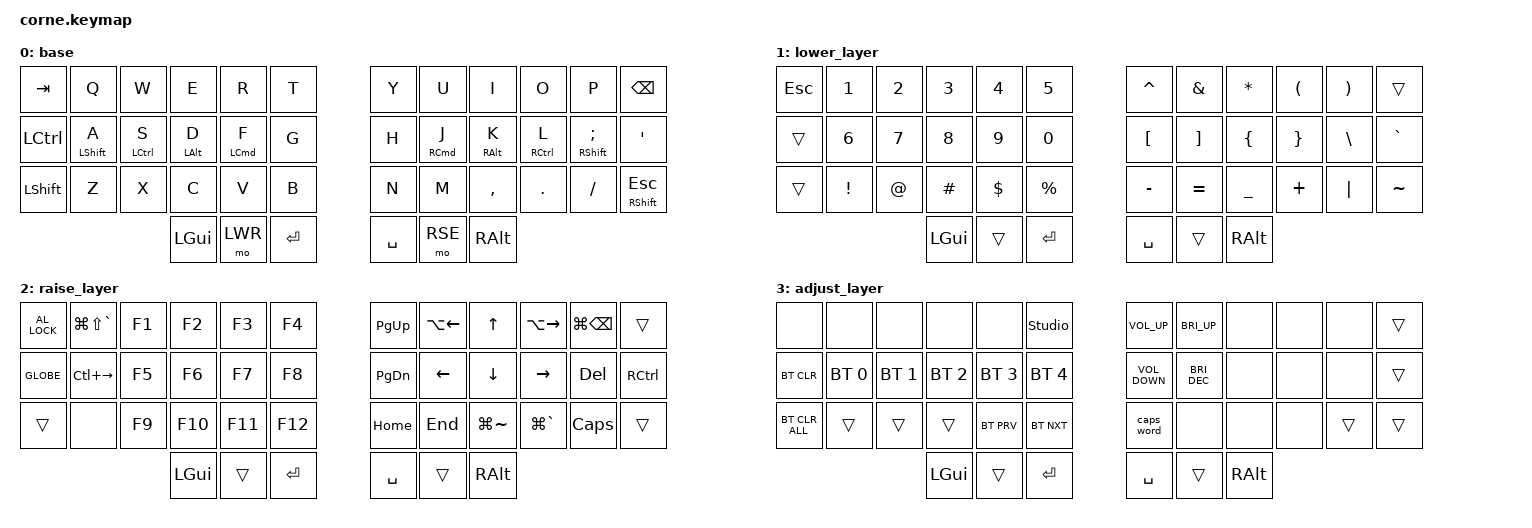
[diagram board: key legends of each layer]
/*
 * Copyright (c) 2020 The ZMK Contributors
 *
 * SPDX-License-Identifier: MIT
 */

#include <behaviors.dtsi>
#include <dt-bindings/zmk/keys.h>
#include "zmk-helpers/helper.h"
#include "zmk-helpers/key-labels/42.h"
#include <dt-bindings/zmk/bt.h>

#define BSE 0   //base
#define LWR 1   //lower
#define RSE 2   //raise
#define ADJ 3   //bt-adjust


#define KEYS_L LT0 LT1 LT2 LT3 LT4 LT5 LM0 LM1 LM2 LM3 LM4 LM5 LB0 LB1 LB2 LB3 LB4 LB5
#define KEYS_R RT0 RT1 RT2 RT3 RT4 RT5 RM0 RM1 RM2 RM3 RM4 RM5 RB0 RB1 RB2 RB3 RB4 RB5
#define THUMBS LH2 LH1 LH0 RH0 RH1 RH2

ZMK_HOLD_TAP(hml,
    flavor = "tap-preferred";
    tapping-term-ms = <280>;
    quick-tap-ms = <200>;
    require-prior-idle-ms = <230>;
    hold-trigger-key-positions = <KEYS_R THUMBS>;
    hold-trigger-on-release;
    bindings = <&kp>, <&kp>;
)

ZMK_HOLD_TAP(hmr,
    flavor = "tap-preferred";
    tapping-term-ms = <280>;
    quick-tap-ms = <200>;
    require-prior-idle-ms = <230>;
    hold-trigger-key-positions = <KEYS_L THUMBS>;
    hold-trigger-on-release;
    bindings = <&kp>, <&kp>;
)

ZMK_CONDITIONAL_LAYER(ADJ, LWR RSE, ADJ)

ZMK_COMBO(ij_project_files,         &kp LG(NUMBER_1),     RB0 RB1, BSE, 50, 230)
ZMK_COMBO(ij_selected_task_run,     &kp LS(LC(F10)),      LT0 LT1, BSE, 50, 230)
ZMK_COMBO(ij_last_run_task_run,     &kp LS(F10),          LM0 LM1, BSE, 50, 230)
ZMK_COMBO(ij_stop_running_task,     &kp LG(F2),           LT2 LT3, BSE, 50, 230)
ZMK_COMBO(ij_run_menu,              &kp LS(LA(F10)),      RT0 RT1, BSE, 50, 230)

ZMK_LAYER(base,
&kp TAB    &kp Q          &kp W         &kp E        &kp R        &kp T      &kp Y      &kp U        &kp I        &kp O         &kp P            &kp BSPC
&kp LCTRL  &hml LSHIFT A  &hml LCTRL S  &hml LALT D  &hml LCMD F  &kp G      &kp H      &hmr RCMD J  &hmr RALT K  &hmr RCTRL L  &hmr RSHFT SEMI  &kp SQT
&kp LSHFT  &kp Z          &kp X         &kp C        &kp V        &kp B      &kp N      &kp M        &kp COMMA    &kp DOT       &kp FSLH         &mt RIGHT_SHIFT ESCAPE
                                        &kp LGUI     &mo LWR        &kp RET    &kp SPACE  &mo RSE        &kp RALT
)

ZMK_LAYER(lower_layer,
&kp ESCAPE  &kp N1           &kp N2  &kp N3    &kp N4    &kp N5       &kp CARET  &kp AMPS   &kp ASTRK  &kp LPAR  &kp RPAR  &trans
&trans      &kp N6           &kp N7  &kp N8    &kp N9    &kp N0       &kp LBKT   &kp RBKT   &kp LBRC   &kp RBRC  &kp BSLH  &kp GRAVE
&trans      &kp EXCLAMATION  &kp AT  &kp HASH  &kp DLLR  &kp PRCNT    &kp MINUS  &kp EQUAL  &kp UNDER  &kp PLUS  &kp PIPE  &kp TILDE
                                     &kp LGUI  &trans    &kp RET      &kp SPACE  &trans     &kp RALT
)

ZMK_LAYER(raise_layer,
&kp C_AL_LOCK  &kp LG(LS(GRAVE))  &kp F1  &kp F2    &kp F3   &kp F4     &kp PAGE_UP    &kp LA(LEFT_ARROW)  &kp UP_ARROW    &kp LA(RIGHT_ARROW)  &kp LG(BACKSPACE)  &trans
&kp GLOBE      &kp LC(RIGHT)      &kp F5  &kp F6    &kp F7   &kp F8     &kp PAGE_DOWN  &kp LEFT_ARROW      &kp DOWN_ARROW  &kp RIGHT_ARROW      &kp DELETE         &kp RCTRL
&trans         &none              &kp F9  &kp F10   &kp F11  &kp F12    &kp HOME       &kp END             &kp LG(TILDE)   &kp LG(GRAVE)        &kp CAPSLOCK       &trans
                                          &kp LGUI  &trans   &kp RET    &kp SPACE      &trans              &kp RALT
)

ZMK_LAYER(adjust_layer,
&none           &none         &none         &none         &none         &studio_unlock    &kp C_VOLUME_UP    &kp C_BRI_UP   &none     &none  &none   &trans
&bt BT_CLR      &bt BT_SEL 0  &bt BT_SEL 1  &bt BT_SEL 2  &bt BT_SEL 3  &bt BT_SEL 4      &kp C_VOLUME_DOWN  &kp C_BRI_DEC  &none     &none  &none   &trans
&bt BT_CLR_ALL  &trans        &trans        &trans        &bt BT_PRV    &bt BT_NXT        &caps_word         &none          &none     &none  &trans  &trans
                                            &kp LGUI      &trans        &kp RET           &kp SPACE          &trans         &kp RALT
)
